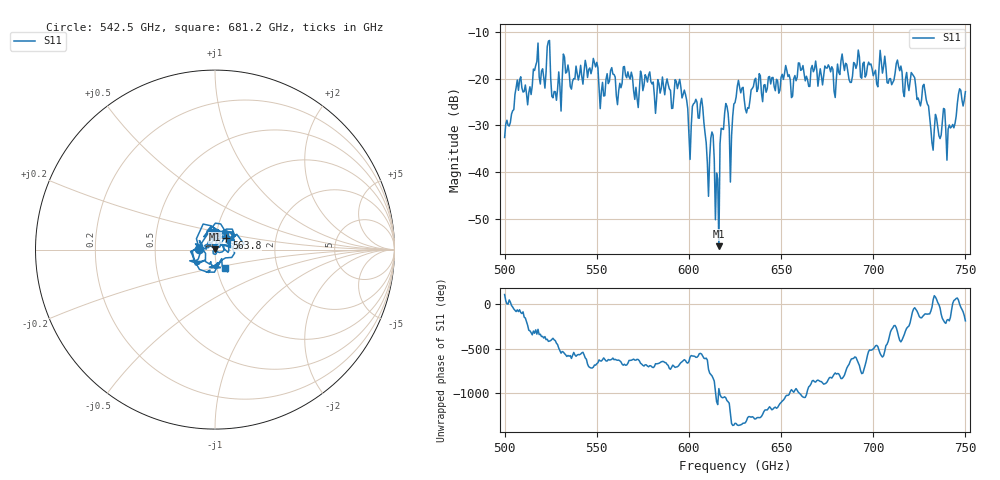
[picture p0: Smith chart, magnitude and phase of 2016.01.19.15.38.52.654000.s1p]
!Created with skrf (http://scikit-rf.org).
# GHz S RI R 50.0
!freq ReS11 ImS11
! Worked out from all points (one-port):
!   401 points, 500 GHz to 750 GHz, reference 50 ohm
!   lowest |S11| = -55.9 dB at 616.2 GHz (marker M1), VSWR 1.00, Z = 49.9 + j0.121 ohm
!   |S11| at or under -10 dB: start of sweep to end of sweep
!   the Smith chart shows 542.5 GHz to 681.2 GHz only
!   S11 on the Smith chart (normalised r, x): 542.5 GHz: 0.84, +0.00; 563.8 GHz: 1.13, +0.14; 681.2 GHz: 1.09, -0.23
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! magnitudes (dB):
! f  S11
! 500 GHz  -32.6
! 516.9 GHz  -17.2
! 520.6 GHz  -17.9
! 523.8 GHz  -12.0
! 526.9 GHz  -22.8
! 531.2 GHz  -20.0
! 542.5 GHz  -21.2
! 562.5 GHz  -21.0
! 563.8 GHz  -21.0
! 593.8 GHz  -22.1
! 600 GHz  -32.1
! 607.5 GHz  -26.2
! 610 GHz  -38.1
! 612.5 GHz  -31.4
! 615 GHz  -40.3
! 616.2 GHz  -55.9
! 618.8 GHz  -30.9
! 623.1 GHz  -32.4
! 625 GHz  -25.2
! 656.2 GHz  -23.8
! 681.2 GHz  -18.7
! 687.5 GHz  -20.8
! 705 GHz  -18.8
! 718.8 GHz  -21.1
! 728.1 GHz  -22.8
! 731.9 GHz  -33.8
! 741.2 GHz  -29.9
! 750 GHz  -22.8
